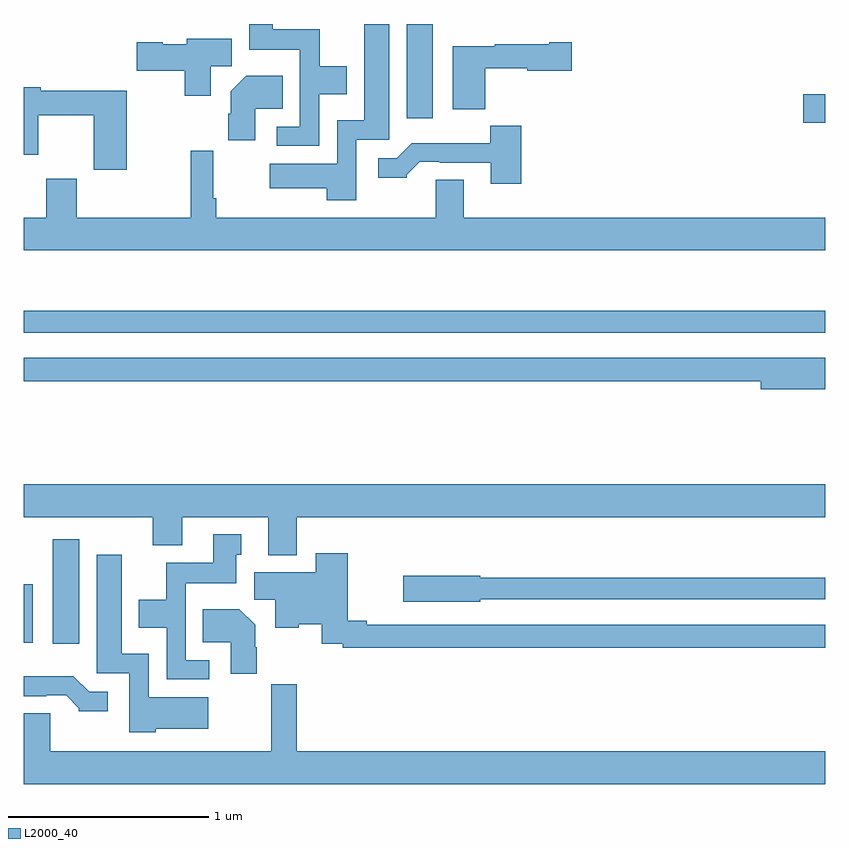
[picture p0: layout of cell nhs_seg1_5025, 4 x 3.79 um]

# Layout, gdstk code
import gdstk
lib = gdstk.Library(unit=1e-6, precision=1e-09)
def R(c, l, rs):  # rectangles x0, y0, x1, y1
    for r in rs: c.add(gdstk.rectangle(r[:2], r[2:], *l))
def P(c, l, *ps):  # polygons
    for p in ps: c.add(gdstk.Polygon(p, *l))
L2000_40 = (2000, 40)

nhs_seg1_5025 = lib.new_cell('nhs_seg1_5025')
R(nhs_seg1_5025, L2000_40, [(383.144,547.104,383.275,547.627), (383,547.109,383.044,547.402), (383,548.658,387,548.767), (386.892,549.706,387,549.848), (384.911,549.729,385.042,550.199), (383.147,550.197,383.26,550.199)])
P(nhs_seg1_5025, L2000_40, [(384.474,549.848),(384.613,549.848),(384.613,549.988),(384.477,549.988),(384.477,550.174),(384.241,550.174),(384.241,550.199),(384.125,550.199),(384.125,550.07),(384.378,550.07),(384.378,549.687),(384.261,549.687),(384.261,549.591),(384.474,549.591)],
  [(384.66,549.621),(384.823,549.621),(384.823,550.199),(384.698,550.199),(384.698,549.718),(384.564,549.718),(384.564,549.502),(384.228,549.502),(384.228,549.38),(384.512,549.38),(384.512,549.318),(384.66,549.318)],
  [(383.932,549.988),(384.037,549.988),(384.037,550.126),(383.814,550.126),(383.814,550.099),(383.694,550.099),(383.694,550.107),(383.562,550.107),(383.562,549.965),(383.803,549.965),(383.803,549.84),(383.932,549.84)],
  [(385.304,549.977),(385.512,549.977),(385.512,549.965),(385.735,549.965),(385.735,550.107),(385.622,550.107),(385.622,550.099),(385.35,550.099),(385.35,550.087),(385.142,550.087),(385.142,549.773),(385.304,549.773)],
  [(384.154,549.776),(384.293,549.776),(384.293,549.94),(384.11,549.94),(384.032,549.862),(384.032,549.752),(384.02,549.752),(384.02,549.618),(384.154,549.618)],
  [(383.514,549.865),(383.084,549.865),(383.084,549.883),(383,549.883),(383,549.546),(383.071,549.546),(383.071,549.744),(383.348,549.744),(383.348,549.471),(383.514,549.471)],
  [(385.484,549.691),(385.329,549.691),(385.329,549.604),(384.937,549.604),(384.861,549.528),(384.768,549.528),(384.768,549.431),(384.912,549.431),(384.912,549.446),(384.976,549.51),(385.075,549.51),(385.075,549.507),(385.331,549.507),(385.331,549.402),(385.484,549.402)],
  [(387,549.232),(385.195,549.232),(385.195,549.422),(385.055,549.422),(385.055,549.232),(383.96,549.232),(383.96,549.328),(383.945,549.328),(383.945,549.565),(383.832,549.565),(383.832,549.232),(383.264,549.232),(383.264,549.427),(383.111,549.427),(383.111,549.232),(383,549.232),(383,549.068),(387,549.068)],
  [(387,548.532),(383,548.532),(383,548.416),(386.678,548.416),(386.678,548.374),(387,548.374)],
  [(384.361,547.736),(387,547.736),(387,547.9),(383,547.9),(383,547.736),(383.644,547.736),(383.644,547.595),(383.791,547.595),(383.791,547.736),(384.221,547.736),(384.221,547.547),(384.361,547.547)],
  [(383.926,547.023),(383.808,547.023),(383.808,547.406),(384.061,547.406),(384.061,547.548),(384.085,547.548),(384.085,547.651),(383.945,547.651),(383.945,547.51),(383.71,547.51),(383.71,547.324),(383.573,547.324),(383.573,547.184),(383.712,547.184),(383.712,546.927),(383.926,546.927)],
  [(387,547.2),(384.712,547.2),(384.712,547.22),(384.616,547.22),(384.616,547.555),(384.458,547.555),(384.458,547.462),(384.149,547.462),(384.149,547.324),(384.254,547.324),(384.254,547.184),(384.372,547.184),(384.372,547.202),(384.488,547.202),(384.488,547.104),(384.592,547.104),(384.592,547.084),(387,547.084)],
  [(383.658,546.68),(383.92,546.68),(383.92,546.838),(383.622,546.838),(383.622,547.054),(383.488,547.054),(383.488,547.549),(383.363,547.549),(383.363,546.957),(383.526,546.957),(383.526,546.662),(383.658,546.662)],
  [(385.278,547.326),(387,547.326),(387,547.435),(385.278,547.435),(385.278,547.443),(384.894,547.443),(384.894,547.313),(385.278,547.313)],
  [(384.162,547.088),(384.154,547.088),(384.154,547.198),(384.076,547.276),(383.893,547.276),(383.893,547.112),(384.032,547.112),(384.032,546.954),(384.162,546.954)],
  [(383.419,546.864),(383.325,546.864),(383.247,546.943),(383,546.943),(383,546.843),(383.111,546.843),(383.111,546.846),(383.21,546.846),(383.274,546.782),(383.274,546.767),(383.419,546.767)],
  [(387,546.568),(384.362,546.568),(384.362,546.901),(384.234,546.901),(384.234,546.568),(383.131,546.568),(383.131,546.758),(383,546.758),(383,546.404),(387,546.404)])

lib.write_gds('nhs_seg1_5025.gds')
